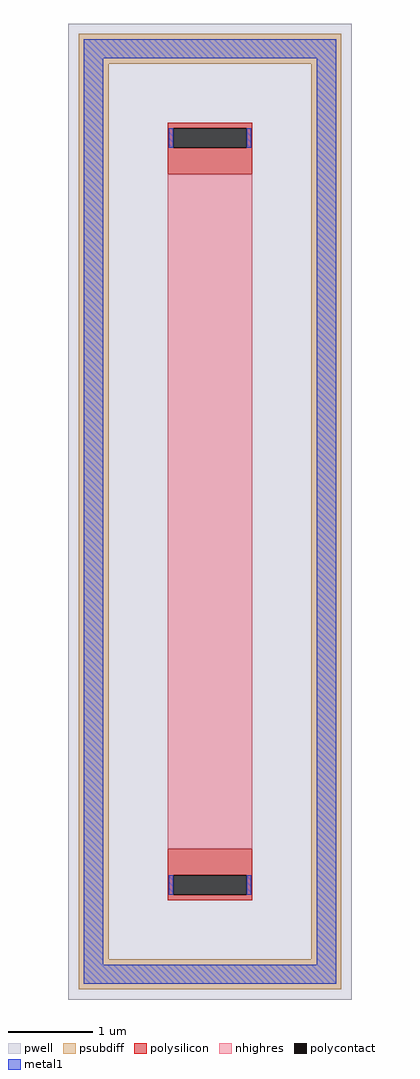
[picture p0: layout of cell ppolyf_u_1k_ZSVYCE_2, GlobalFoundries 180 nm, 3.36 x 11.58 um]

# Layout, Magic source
magic
tech gf180mcuD
magscale 1 10
<< pwell >>
rect -336 -1158 336 1158
<< psubdiff >>
rect -312 1062 312 1134
rect -312 -1062 -240 1062
rect 240 -1062 312 1062
rect -312 -1134 312 -1062
<< polysilicon >>
rect -100 909 100 922
rect -100 863 -87 909
rect 87 863 100 909
rect -100 800 100 863
rect -100 -863 100 -800
rect -100 -909 -87 -863
rect 87 -909 100 -863
rect -100 -922 100 -909
<< polycontact >>
rect -87 863 87 909
rect -87 -909 87 -863
<< nhighres >>
rect -100 -800 100 800
<< metal1 >>
rect -299 1075 299 1121
rect -299 -1075 -253 1075
rect -98 863 -87 909
rect 87 863 98 909
rect -98 -909 -87 -863
rect 87 -909 98 -863
rect 253 -1075 299 1075
rect -299 -1121 299 -1075
<< properties >>
string FIXED_BBOX -276 -1098 276 1098
string gencell ppolyf_u_1k
string library gf180mcu
string parameters w 1.0 l 8.0 m 1 nx 1 wmin 1.000 lmin 1.000 class resistor rho 1000 val 8.244k dummy 0 dw 0.0296 term 0.0 sterm 0.0 caplen 0.4 snake 0 glc 1 grc 1 gtc 0 gbc 0 roverlap 0 endcov 100 full_metal 1 guard 1 guard_type pwell compatible {ppolyf_u_1k ppolyf_u_1k_6p0}
<< end >>
